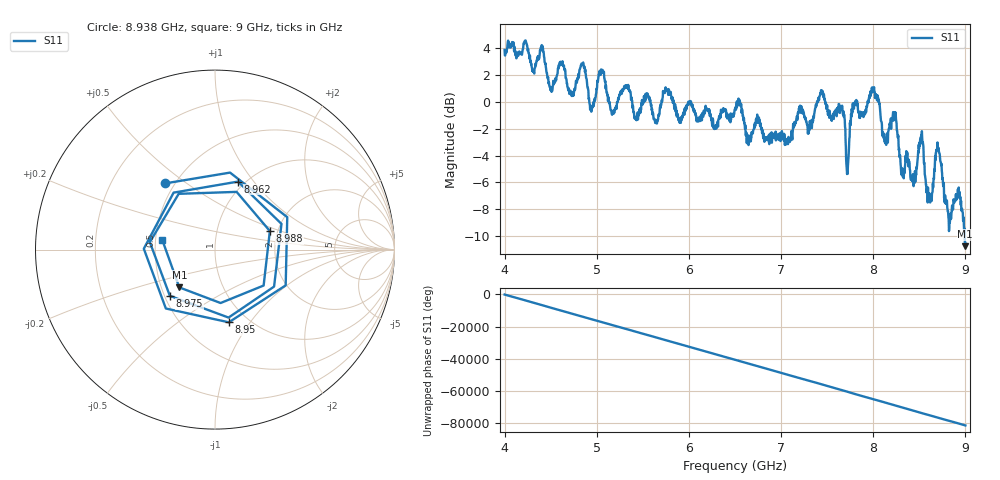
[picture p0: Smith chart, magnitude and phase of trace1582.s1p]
! Created with skrf 1.8.0 (http://scikit-rf.org).
# Hz S RI R 50.0
!freq ReS11 ImS11
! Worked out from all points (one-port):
!   1601 points, 4 GHz to 9 GHz, reference 50 ohm
!   lowest |S11| = -10.8 dB at 8.997 GHz (marker M1), VSWR 1.82, Z = 30.9 - j14.2 ohm
!   |S11| at or under -10 dB: 8.9926 GHz to end of sweep
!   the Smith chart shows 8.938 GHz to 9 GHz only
!   S11 on the Smith chart (normalised r, x): 8.938 GHz: 0.45, +0.42; 8.95 GHz: 0.82, -0.80; 8.962 GHz: 0.93, +0.84; 8.975 GHz: 0.53, -0.32; 8.988 GHz: 1.82, +0.42; 9 GHz: 0.54, +0.06
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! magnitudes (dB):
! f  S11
! 4 GHz  3.9
! 4.625 GHz  2.8
! 4.728 GHz  0.5
! 4.85 GHz  2.9
! 4.944 GHz  -0.4
! 5.047 GHz  2.4
! 5.25 GHz  0.5
! 5.875 GHz  -0.9
! 6.5 GHz  -0.5
! 7.125 GHz  -2.3
! 7.441 GHz  0.8
! 7.666 GHz  -0.6
! 7.719 GHz  -5.2
! 7.75 GHz  -1.8
! 8 GHz  1.0
! 8.375 GHz  -4.5
! 8.441 GHz  -5.7
! 8.519 GHz  -2.6
! 8.616 GHz  -7.5
! 8.703 GHz  -3.6
! 8.825 GHz  -9.4
! 8.938 GHz  -6.7
! 8.95 GHz  -7.7
! 8.962 GHz  -8.0
! 8.975 GHz  -8.9
! 8.988 GHz  -9.8
! 8.997 GHz  -10.8
! 9 GHz  -10.5
